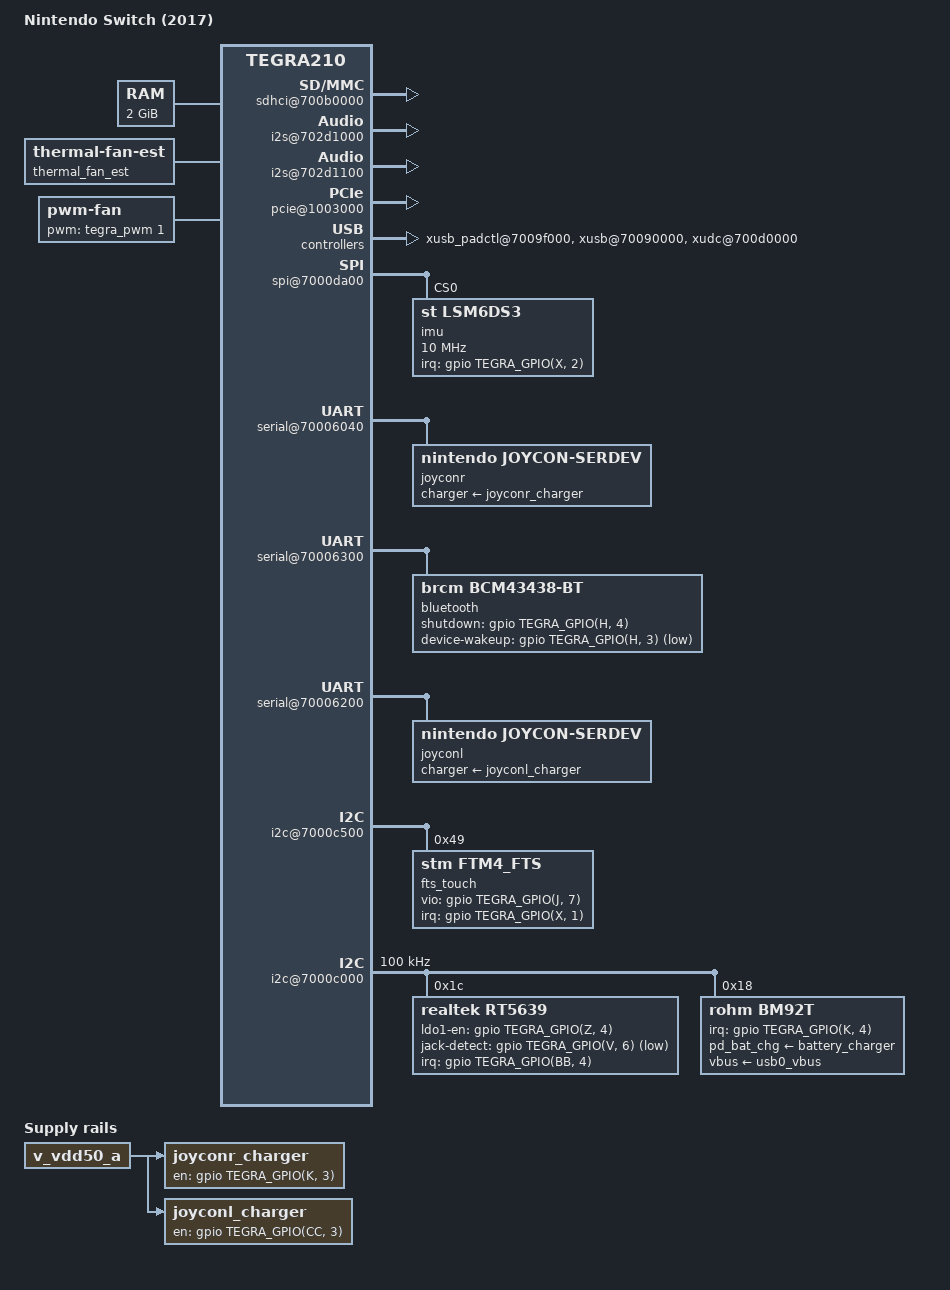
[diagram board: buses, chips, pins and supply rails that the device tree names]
/*
 * arch/arm64/boot/dts/tegra210-icosa-common.dtsi
 *
 * Copyright (c) 2014-2019, NVIDIA CORPORATION.  All rights reserved.
 *
 * This program is free software; you can redistribute it and/or modify
 * it under the terms of the GNU General Public License as published by
 * the Free Software Foundation; version 2 of the License.
 *
 * This program is distributed in the hope that it will be useful, but WITHOUT
 * ANY WARRANTY; without even the implied warranty of MERCHANTABILITY or
 * FITNESS FOR A PARTICULAR PURPOSE.  See the GNU General Public License for
 * more details.
 *
 */

/dts-v1/;

/memreserve/ 0x80000000 0x00020000;

#include <t210-common-platforms/tegra210-common.dtsi>
#include <t210-common-platforms/tegra210-cpufreq.dtsi>
#include "icosa-platforms/tegra210-icosa-gpio.dtsi"
#include "icosa-platforms/tegra210-icosa-pinmux.dtsi"
#include "icosa-platforms/tegra210-icosa-prods.dtsi"
#include "icosa-platforms/tegra210-icosa-comms.dtsi"
#include <tegra210-soc/tegra210-sdhci.dtsi>
#include "icosa-platforms/tegra210-icosa-keys.dtsi"
#include <tegra210-soc/tegra210-audio.dtsi>
#include <t210-common-platforms/tegra210-thermal-nct72-p2530.dtsi>
#include <tegra210-soc/tegra210-thermal-Tboard-Tdiode.dtsi>
#include <dt-bindings/clock/tegra210-car.h>
#include <dt-bindings/reset/tegra210-car.h>
#include <dt-bindings/soc/tegra-pmc.h>
#include <dt-bindings/thermal/tegra124-soctherm.h>
#include <dt-bindings/thermal/tegra210-trips.h>

/ {
	model = "Nintendo Switch (2017)";
	compatible = "nintendo,icosa", "nvidia,tegra210";
	nvidia,dtsfilename = __FILE__;

	nvidia,boardids = "2595:0000:A0";
	nvidia,proc-boardid = "2595:0000:A0";
	nvidia,pmu-boardid = "2595:0000:A0";
	#address-cells = <2>;
	#size-cells = <2>;

	serial-number = "1234";

	chosen {
		nvidia,bluetooth-mac = "11:22:33:44:55:66"; // both overwritten by U-Boot
		nvidia,wifi-mac = "11:22:33:44:55:66";
	};

	firmware {
		android {
			compatible = "android,firmware";
			hardware = "icosa";
			fstab {
				compatible = "android,fstab";
				first_stage_delay = "1";
				vendor {
					compatible = "android,vendor";
					dev = "/dev/block/platform/sdhci-tegra.0/by-name/vendor";
					type = "ext4";
					mnt_flags = "ro,noatime";
					fsmgr_flags = "wait";
				};
			};
		};
	};

	dvfs {
		compatible = "nvidia,tegra210-dvfs";
	};

	rtc {
		nvidia,pmc-wakeup = <0>; // Disable wakeup alarms
	};

	tegra_fiq_debugger {
		status = "disabled";
	};

	pmc@7000e400 {
		nvidia,invert-interrupt;
		nvidia,suspend-mode = <0>;
		nvidia,cpu-pwr-good-time = <0>;
		nvidia,cpu-pwr-off-time = <0>;
		nvidia,core-pwr-good-time = <4587 3876>;
		nvidia,core-pwr-off-time = <39065>;
		nvidia,core-pwr-req-active-high;
		nvidia,sys-clock-req-active-high;
		#nvidia,wake-cells = <3>;
		iopad-defaults {
			audio-hv-pads {
				pins = "audio-hv";
				nvidia,power-source-voltage = <TEGRA_IO_PAD_VOLTAGE_1800000UV>;
			};

			spi-hv-pads {
				pins = "spi-hv";
				nvidia,power-source-voltage = <TEGRA_IO_PAD_VOLTAGE_1800000UV>;
			};

			gpio-pads {
				pins = "gpio";
				nvidia,power-source-voltage = <TEGRA_IO_PAD_VOLTAGE_1800000UV>;
			};

			sdmmc1-pads {
				pins = "sdmmc1";
				nvidia,enable-voltage-switching;
			};

			sdmmc3-pads {
				pins = "sdmmc3";
				nvidia,power-source-voltage = <TEGRA_IO_PAD_VOLTAGE_1800000UV>;
				nvidia,enable-voltage-switching;
				low-power-enable;
			};
		};
	};

	memory@80000000 {
		device_type = "memory";
		reg = < 0x0 0x80000000 0x0 0x80000000 >;
	};

	sdhci@700b0600 { /* SDMMC4 for EMMC */
		bus-width = <8>;
		uhs-mask = <0x0>;       /* hs400 */
		tap-delay = <0>;
		max-clk-limit = <200000000>;
		pll_source = "pll_p", "pll_c4_out2";
		clocks = <&tegra_car TEGRA210_CLK_SDMMC4>,
			   <&tegra_car TEGRA210_CLK_PLL_P>,
			   <&tegra_car TEGRA210_CLK_PLL_C4_OUT2>,
			   <&tegra_car TEGRA210_CLK_SDMMC_LEGACY>;
		clock-names = "sdmmc", "pll_p", "pll_c4_out2", "sdmmc_legacy_tm";
		status = "disabled";
	};


	sdhci@700b0400 { /* SDMMC3 Not Used */
		status = "disabled";
	};

	sdhci@700b0200 { /* SDMMC2 for Gamecard */
		uhs-mask = <0x0>;	/* hs400 */
		tap-delay = <0>;
		trim-delay = <8>;
		nvidia,is-ddr-tap-delay;
		nvidia,ddr-tap-delay = <0>;
		mmc-ocr-mask = <0>;
		dqs-trim-delay = <17>;
		dqs-trim-delay-hs533 = <24>;
		max-clk-limit = <200000000>;
		bus-width = <8>;
		built-in;
		calib-3v3-offsets = <0x0505>;
		calib-1v8-offsets = <0x0505>;
		compad-vref-3v3 = <0x7>;
		compad-vref-1v8 = <0x7>;
		nvidia,en-io-trim-volt;
		nvidia,is-emmc;
		nvidia,enable-cq;
		ignore-pm-notify;
		keep-power-in-suspend;
		non-removable;
		cap-mmc-highspeed;
		cap-sd-highspeed;
		mmc-ddr-1_8v;
		mmc-hs200-1_8v;
		mmc-hs400-1_8v;
		nvidia,enable-strobe-mode;
		pll_source = "pll_p", "pll_c4_out2";
		clocks = <&tegra_car TEGRA210_CLK_SDMMC2>,
			   <&tegra_car TEGRA210_CLK_PLL_P>,
			   <&tegra_car TEGRA210_CLK_PLL_C4_OUT2>;
		clock-names = "sdmmc", "pll_p", "pll_c4_out2";
		status = "disabled";
	};

	sdhci@700b0000 { /* SDMMC1 for uSD card */
		uhs-mask = <0x0c>;
		power-off-rail;
		default-drv-type = <0x01>;
		nvidia,update-pinctrl-settings;
		nvidia,sd-device;
		no-sdio;
		no-mmc;
		max-clk-limit = <200000000>;
		pll_source = "pll_p", "pll_c4_out2";
		clocks = <&tegra_car TEGRA210_CLK_SDMMC1>,
			   <&tegra_car TEGRA210_CLK_PLL_P>,
			   <&tegra_car TEGRA210_CLK_PLL_C4_OUT2>,
			   <&tegra_car TEGRA210_CLK_SDMMC_LEGACY>;
		clock-names = "sdmmc", "pll_p", "pll_c4_out2", "sdmmc_legacy_tm";
		nvidia,cd-wakeup-capable;
		status = "okay";
	};

	aconnect@702c0000 {
		status = "okay";

		adma@702e2000  {
			status = "okay";
		};

		ahub {
			i2s@702d1000 {
				pinctrl-names = "dap_active", "dap_inactive";
				pinctrl-0 = <>;
				pinctrl-1 = <>;
				regulator-supplies = "vdd-1v8-audio-hv", "vdd-1v8-audio-hv-bias";
				vdd-1v8-audio-hv-supply = <&max77620_sd3>;
				vdd-1v8-audio-hv-bias-supply = <&max77620_sd3>;
				status = "okay";
			};
	
			i2s@702d1100 {
				pinctrl-names = "dap_active", "dap_inactive";
				pinctrl-0 = <>;
				pinctrl-1 = <>;
				regulator-supplies = "vdd-1v8-spi-hv", "vdd-1v8-spi-hv-bias";
				vdd-1v8-spi-hv-supply = <&max77620_sd3>;
				vdd-1v8-spi-hv-bias-supply = <&max77620_sd3>;
				fsync-width = <0>;
				status = "okay";
			};
			i2s@702d1100 {
				pinctrl-names = "dap_active", "dap_inactive";
				pinctrl-0 = <>;
				pinctrl-1 = <>;
				regulator-supplies = "vdd-1v8-spi-hv", "vdd-1v8-spi-hv-bias";
				vdd-1v8-spi-hv-supply = <&max77620_sd3>;
				vdd-1v8-spi-hv-bias-supply = <&max77620_sd3>;
				fsync-width = <0>;
			};
		};
		adsp_audio {
			status = "okay";
			compr-ops = <1>;
			num-plugin = <5>;
			plugin-info-1 {
				plugin-name = "mp3-dec1";
				firmware-name = "nvmp3dec.elf";
				widget-name = "MP3-DEC1";
			};
			plugin-info-2 {
				plugin-name = "spkprot";
				firmware-name = "nvspkprot.elf";
				widget-name = "SPKPROT-SW";
			};
			plugin-info-3 {
				plugin-name = "src";
				firmware-name = "nvsrc.elf";
				widget-name = "SRC";
			};
			plugin-info-4 {
				plugin-name = "aac-dec1";
				firmware-name = "nvaacdec.elf";
				widget-name = "AAC-DEC1";
			};
			plugin-info-5 {
				plugin-name = "aec";
				firmware-name = "libnvaecfx.elf";
				widget-name = "AEC";
				param-type = <2>; /* SNDRV_CTL_ELEM_TYPE_INTEGER */
			};
		};

	};

	pcie@1003000 {
		nvidia,wake-gpio = <&gpio TEGRA_GPIO(A, 2) 0>;
		/delete-property/ iommus;
		/delete-property/ iommu-map;
		/delete-property/ iommu-map-mask;

		avdd-pll-uerefe-supply = <&max77620_ldo1>;
		dvdd-pex-pll-supply = <&max77620_ldo1>;
		dvddio-pex-supply = <&max77620_ldo1>;
		l0-dvddio-pex-supply = <&max77620_ldo1>;
		l1-dvddio-pex-supply = <&max77620_ldo1>;
		l2-dvddio-pex-supply = <&max77620_ldo1>;
		l3-dvddio-pex-supply = <&max77620_ldo1>;
		l4-dvddio-pex-supply = <&max77620_ldo1>;
		l5-dvddio-pex-supply = <&max77620_ldo1>;
		l6-dvddio-pex-supply = <&max77620_ldo1>;
		hvddio-pex-supply = <&max77620_sd3>;
		hvdd-pex-pll-e-supply = <&max77620_sd3>;
		l0-hvddio-pex-supply = <&max77620_sd3>;
		l1-hvddio-pex-supply = <&max77620_sd3>;
		l2-hvddio-pex-supply = <&max77620_sd3>;
		l3-hvddio-pex-supply = <&max77620_sd3>;
		l4-hvddio-pex-supply = <&max77620_sd3>;
		l5-hvddio-pex-supply = <&max77620_sd3>;
		l6-hvddio-pex-supply = <&max77620_sd3>;
		vddio-pex-ctl-supply = <&max77620_sd3>;
		status = "okay";

		nvidia,check-lane-timeout = <20>;

		pci@1,0 {
			phys =  <&{/xusb_padctl@7009f000/pads/pcie/lanes/pcie-1}>,
					<&{/xusb_padctl@7009f000/pads/pcie/lanes/pcie-2}>,
					<&{/xusb_padctl@7009f000/pads/pcie/lanes/pcie-3}>,
					<&{/xusb_padctl@7009f000/pads/pcie/lanes/pcie-4}>;
			phy-names = "pcie-0", "pcie-1", "pcie-2", "pcie-3";
			nvidia,num-lanes = <4>;
			status = "okay";
		};

		pci@2,0 {
			phys = <&{/xusb_padctl@7009f000/pads/pcie/lanes/pcie-0}>;
			nvidia,plat-gpios = <&gpio TEGRA_GPIO(H, 1) 0>; /* WiFi reset */
			phy-names = "pcie-0";
			status = "okay";
		};
	};

	xusb_padctl@7009f000 {
		status = "okay";

		pads {
			usb2 {
				status = "okay";

				lanes {
					usb2-0 {
						nvidia,function = "xusb";
						status = "okay";
					};
				};
			};

			pcie {
				status = "okay";

				lanes {
					/* bcm4356A3-wifi */
					pcie-0 {
						nvidia,function = "pcie-x1";
						status = "okay";
					};
					/* Unused ports */
					pcie-1 {
						nvidia,function = "pcie-x4";
						status = "okay";
					};
					pcie-2 {
						nvidia,function = "pcie-x4";
						status = "okay";
					};
					pcie-3 {
						nvidia,function = "pcie-x4";
						status = "okay";
					};
					pcie-4 {
						nvidia,function = "pcie-x4";
						status = "okay";
					};
					/* XUSB */
					pcie-5 {
						nvidia,function = "xusb";
						status = "okay";
					};
					pcie-6 {
						nvidia,function = "xusb";
						status = "okay";
					};
				};
			};
		};

		ports {
			usb2-0 {
				status = "okay";
				mode = "otg";
				nvidia,usb3-port-fake = <3>;
			};

			usb3-0 {
				nvidia,usb2-companion = <0>;
				status = "okay";
			};
		};
	};

	spi@7000da00 {
		status = "okay";
		imu: lsm6dsm@0 {
			compatible = "st,lsm6ds3";
			reg = <0>;
			spi-max-frequency = <10000000>;
			interrupt-parent = <&gpio>;
			interrupts = <TEGRA_GPIO(X, 2) IRQ_TYPE_LEVEL_HIGH>;
			st,drdy-int-pin = <2>;
			status = "okay";
			#address-cells = <0x1>;
			#size-cells = <0x0>;
			nvidia,enable-hw-based-cs;
			nvidia,cs-setup-clk-count = <0x1e>;
			nvidia,cs-hold-clk-count = <0x1e>;
			nvidia,rx-clk-tap-delay = <0x1f>;
			nvidia,tx-clk-tap-delay = <0x0>;
		};
		/delete-node/ spi-touch19x12@0;
		/delete-node/ spi-touch25x16@0;
		/delete-node/ spi-touch14x8@0;
	};

	cpufreq {
		cpu-scaling-data {
			freq-table = <102000
						  204000
						  306000
						  408000
						  510000
						  612000
						  714000
						  816000
						  918000
						  1020000
						  1122000
						  1224000
						  1326000
						  1428000
						  1581000
						  1683000
						  1785000
						  1887000
						  1989000
						  2091000>;
		};

		emc-scaling-data {
			emc-cpu-limit-table = <
				/* CPU    EMC */
				102000	68000
				204800	102000
				307200	204000
				403000	408000
				710400	665600
				1036800 1600000
			>;
		};
	};

	joyconr_charger: joyconr_charger {
		status = "okay";
		compatible = "regulator-fixed";
		regulator-name = "right-joycon-charger";
		gpio = <&gpio TEGRA_GPIO(K, 3) GPIO_ACTIVE_HIGH>;
		enable-active-high;
		vin-supply = <&v_vdd50_a>;
	};

	/* right joycon */
	serial@70006040 {
		status = "okay";
		nvidia,invert-txd;
		nvidia,invert-rts;

		joyconr {
			status = "okay";
			name = "joyconr";
			compatible = "nintendo,joycon-serdev";
			charger-supply = <&joyconr_charger>;
		};
	};

	
	serial@70006300 {
		dma-names = "tx";
		status = "okay";
		
		bluetooth {
			compatible = "brcm,bcm43438-bt";
			shutdown-gpios = <&gpio TEGRA_GPIO(H, 4) GPIO_ACTIVE_HIGH>;
			device-wakeup-gpios = <&gpio TEGRA_GPIO(H, 3) GPIO_ACTIVE_LOW>;
			/* host-wakeup-gpios = <&gpio TEGRA_GPIO(H, 5) GPIO_ACTIVE_LOW>; */
			max-speed = <3000000>; /* Max supported 4 MBaud */
			/* nvidia,pmc-wakeup = <&tegra_pmc PMC_WAKE_TYPE_EVENT 52 PMC_TRIGGER_TYPE_LOW>; */
		};
	};

	joyconl_charger: joyconl_charger {
		status = "okay";
		compatible = "regulator-fixed";
		regulator-name = "left-joycon-charger";
		gpio = <&gpio TEGRA_GPIO(CC, 3) GPIO_ACTIVE_HIGH>;
		enable-active-high;
		vin-supply = <&v_vdd50_a>;
	};

	/* left joycon */
	serial@70006200 {
		status = "okay";
		nvidia,invert-txd;
		nvidia,invert-rts;

		joyconl {
			status = "okay";
			name = "joyconl";
			compatible = "nintendo,joycon-serdev";
			charger-supply = <&joyconl_charger>;
		};
	};

	mailbox@70098000 {
		status = "okay";
	};

	extcon {
		extcon@0 {
			status = "disabled";
		};
	};
	
	/delete-node/ psy_extcon_xudc;
	/delete-node/ usb_cd@7009f000;

	psy_extcon {
		compatible = "power-supply-extcon";
		extcon-cables = <&bq2419x 0>;
		extcon-cable-names = "usb-charger";
	};

	xusb@70090000 {
		status = "okay";
		#extcon-cells = <1>;
		phys = <&{/xusb_padctl@7009f000/pads/usb2/lanes/usb2-0}>,
			   <&{/xusb_padctl@7009f000/pads/pcie/lanes/pcie-6}>;
		phy-names = "usb2-0", "usb3-0";
		extcon-cables = <&bm92t 0>;
		extcon-cable-names = "id";
		nvidia,boost_cpu_freq = <1200>;
	};

	xudc@700d0000 {
		#extcon-cells = <1>;
		status = "okay";
		phys =  <&{/xusb_padctl@7009f000/pads/usb2/lanes/usb2-0}>,
				<&{/xusb_padctl@7009f000/pads/pcie/lanes/pcie-6}>;
		phy-names = "usb2", "usb3";
		extcon-cables = <&bm92t 1>;
		extcon-cable-names = "vbus";
	};

	xotg {
		#extcon-cells = <1>;
		status = "disabled";
	};

	gpu-dvfs-rework {
		status = "okay";
	};

	thermal_fan_est_shared_data: tfesd {
		secret = <37>;
		toffset = <0>;
		polling_period = <1100>;
		ndevs = <2>;
		cdev_type = "pwm-fan";
		tzp_governor_name = "continuous_therm_gov";

		dev1 {
			dev_data = "Tdiode_tegra";
			group = <0>;
			/* Based on Console profile SoC: 95% (100% at Handheld) */
			coeffs = <95 0 0 0 0 0 0 0 0 0 0 0 0 0 0 0 0 0 0 0>;
		};
		dev2 {
			dev_data = "Tboard_tegra";
			group = <1>;
			/* Based on Console profile SoC: 100% (92% at Handheld) */
			coeffs = <100 0 0 0 0 0 0 0 0 0 0 0 0 0 0 0 0 0 0 0>;
		};
	};

	thermal_fan_est {
		compatible = "thermal-fan-est";
		name = "thermal_fan_est";
		status = "okay";

		num_resources = <0>;
		shared_data = <&thermal_fan_est_shared_data>;
		trip_length = <10>;

		thermal-zone-params {
			governor-name = "continuous_therm_gov";
			iir_power = <7>;
			iir_min = <10>;
			iir_max = <1000>;
			iir_gain_qp = <1000>;
			iir_upper_width = <5000>;
			iir_lower_width = <15000>;
		};

		/*
		 * HOS Thermal Trips
		 * Estimated shell:
		 * Tskin        36000 40000 43000 48000 53000 58000
		 *
		 * Console profile actual:
		 * Tdiode       36000 45701 50554 58642 66730 74818
		 * Tboard       36000 43084 47774 55592 63409 71227
		 * Ratio b/d:   1.00  0.94  0.95  0.95  0.95  0.95 : 0.95
		 * Ratio s/d:   1.00  0.88  0.85  0.82  0.79  0.78
		 * Ratio s/b:   1.00  0.93  0.90  0.86  0.84  0.81
		 *
		 * Handheld profile actual:
		 * Tdiode       36000 40412 45904 55054 64204 73356
		 * Tboard       36000 45630 50786 59382 67978 76573
		 * Ratio d/b:   1.00  0.89  0.90  0.93  0.94  0.96 : 0.92
		 * Ratio s/d:   1.00  0.99  0.94  0.87  0.83  0.79
		 * Ratio s/b:   1.00  0.88  0.85  0.81  0.78  0.76
		 */

		profiles {
			default = "docked";
			docked {
				name = "docked";
				active_trip_temps = <
					0 36000 43100 47800 55600 63400 71200
					80000 90000 100000>; /* Unused */
				active_hysteresis = <0 0 7000 4600 0 0 0 0 0 0>;
			};
			handheld {
				name = "handheld";
				active_trip_temps = <
					0 36000 40400 45900 55100 64200 73400
					80000 90000 100000>; /* Unused */
				active_hysteresis = <0 0 4300 5400 0 0 9100 0 0 0>;
			};
		};
	};

	pwm_fan_shared_data: pfsd {
		secret = <47>;
		num_resources = <0>;
		active_steps = <10>;
		active_rpm = <0 0 2600 2600 4900 6900 10000 10000 10000 10000>;
		active_rru = <10 10 10 1 1 1 1 1 1 1>;
		active_rrd = <10 10 10 1 1 1 1 1 1 1>;
		state_cap_lookup = <1 1 2 6 6 6 6 6 6 6>;

		pwm_period = <33333>;
		pwm_id = <1>;
		pwm_polarity = <1>;
		step_time = <100>;
		state_cap = <6>;
		active_pwm_max = <256>;
		tach_gpio =  <&gpio TEGRA_GPIO(S, 7) GPIO_ACTIVE_LOW>; /* TEGRA_GPIO_PS7 */
		pwm_gpio = <&gpio TEGRA_GPIO(V, 4) GPIO_ACTIVE_LOW>; /* TEGRA_GPIO_PV4 */
		tach_period = <1000>;
	};

	pwm-fan {
		compatible = "pwm-fan";
		name = "pwm-fan";
		status = "okay";
		pwms = <&tegra_pwm 1 33333>;
		shared_data = <&pwm_fan_shared_data>;
		continuous_gov_boot_on;

		profiles {
			status = "okay";
			default = "docked";

			docked {
				status = "okay";
				name = "docked";
				state_cap = <6>;
				active_pwm = <0 0 51 51 102 153 255 255 255 255>;
			};
			handheld {
				status = "okay";
				name = "handheld";
				state_cap = <6>;
				active_pwm = <0 0 51 51 102 153 204 204 204 204>;
			};
		};
	};

	ptm {
		status = "disabled";
	};

	i2c@7000c500 {
		fts_touch: fts@49 {
			compatible = "stm,ftm4_fts";
			status = "okay";
			reg = <0x49>;
			interrupt-parent = <&gpio>;
			interrupts = <TEGRA_GPIO(X, 1) IRQ_TYPE_LEVEL_LOW>;
			stm,vio-gpio = <&gpio TEGRA_GPIO(J, 7) GPIO_ACTIVE_HIGH>;
			stm,irq_type = <0x2000>; /* IRQF_ONESHOT */
			stm,regulator_avdd = "vdd-tp-3v1";
			stm,max_coords = <1280 720>;
			stm,max-real-coords = <1264 704>;
			stm,edge-offset = <15 15>;
			stm,delayed-open;
			stm,delayed-open-time = <10>;
		};
	};

	i2c@7000c000 {
		clock-frequency = <100000>;

		rt5639: rt5639@1c {
			compatible = "realtek,rt5639";
			reg = <0x1c>;
			interrupt-parent = <&gpio>;
			interrupts = <TEGRA_GPIO(BB, 4) IRQ_TYPE_EDGE_RISING>;
			realtek,ldo1-en-gpios = <&gpio TEGRA_GPIO(Z, 4) GPIO_ACTIVE_HIGH>;
			realtek,jack-detect-gpios = <&gpio TEGRA_GPIO(V, 6) GPIO_ACTIVE_LOW>;
			realtek,over-current-threshold-microamp = <600>;
			realtek,over-current-scale-factor = <2>;
			realtek,external-microphone;
			realtek,sel-jd-source = <4>;
			realtek,jack-detect-is-jd1;
		};

		bm92t: bm92t@18 {
			compatible = "rohm,bm92t";
			reg = <0x18>;
			interrupt-parent = <&gpio>;
			interrupts = <TEGRA_GPIO(K, 4) IRQ_TYPE_EDGE_RISING>;
			#extcon-cells = <1>;
			pd_bat_chg-supply = <&battery_charger>;
			vbus-supply = <&usb0_vbus>;

			nvidia,pmc-wakeup = <&tegra_pmc
				PMC_WAKE_TYPE_EVENT 14 PMC_TRIGGER_TYPE_LOW>;

			rohm,dp-signal-toggle-on-resume;
			rohm,pd-5v-current-limit-ma = <2000>;
			rohm,pd-9v-current-limit-ma = <2000>;
			rohm,pd-12v-current-limit-ma = <1500>;
			rohm,pd-15v-current-limit-ma = <1200>;
		};
	};

	tegra_sound: sound {
		compatible = "nvidia,tegra-audio-t210ref-mobile-rt5640";
		nvidia,model = "tegra-snd-t210ref-mobile-rt565x";

		clocks = <&tegra_car TEGRA210_CLK_PLL_P_OUT1>,
						<&tegra_car TEGRA210_CLK_PLL_A>,
						<&tegra_car TEGRA210_CLK_PLL_A_OUT0>,
						<&tegra_car TEGRA210_CLK_D_AUDIO>,
						<&tegra_car TEGRA210_CLK_CLK_M>,
						<&tegra_car TEGRA210_CLK_EXTERN1>;
		clock-names = "pll_p_out1", "pll_a", "pll_a_out0", "ahub",
			"clk_m", "extern1";


		assigned-clocks = <&tegra_car TEGRA210_CLK_PLL_A>,
			<&tegra_car TEGRA210_CLK_PLL_A_OUT0>,
			<&tegra_car TEGRA210_CLK_D_AUDIO>,
			<&tegra_car TEGRA210_CLK_EXTERN1>;
		assigned-clock-rates = <368640000>, <36864000>,
			<36864000>, <12288000>;

		nvidia,num-codec-link = <1>;

		nvidia,audio-routing =
			"x Headphone Jack", 	"x HPOL",
			"x Headphone Jack", 	"x HPOR",
			"x Int Spk", 	"x SPORP",
			"x Int Spk", 	"x SPORN",
			"x Int Spk", 	"x SPOLP",
			"x Int Spk", 	"x SPOLN",
			"x IN1P",		"x Mic Jack",
			"x IN1P",		"x Mic Jack";

		nvidia,xbar = <&tegra_axbar>;

		mclk-fs = <256>;

		nvidia,dai-link-1 {
			link-name = "rt565x-playback";
			cpu-dai = <&tegra_i2s1>;
			codec-dai = <&rt5639>;
			cpu-dai-name = "I2S1";
			codec-dai-name = "rt5640-aif1";
			format = "i2s";
			bitclock-slave;
			frame-slave;
			bitclock-noninversion;
			frame-noninversion;
			bit-format = "s16_le";
			srate = <48000>;
			num-channel = <2>;
			name-prefix = "x";
		};
	};

	modem {
		status = "disabled";
		/* using XHCI UTMI */
		nvidia,phy-type = <2>;
	};

	wifi-antenna-tuning {
		status = "disabled";
	};


	soctherm@0x700E2000 {
		throttle-cfgs {
			throttle_oc3: oc3 {
				nvidia,priority = <40>;
				nvidia,polarity-active-low = <1>;
				nvidia,count-threshold = <15>;
				nvidia,alarm-filter = <5100000>;
				nvidia,alarm-period = <0>;
				nvidia,cpu-throt-percent = <75>;
				nvidia,gpu-throt-level =
					<TEGRA_SOCTHERM_THROT_LEVEL_MED>;
			};
		};
	};
	thermal-zones {
		CPU-therm {
			status = "okay";
			thermal-zone-params {
				governor-name = "pid_thermal_gov";
				max_err_temp = <9000>;
				max_err_gain = <1000>;
				gain_p = <1000>;
				gain_d = <0>;
				up_compensation = <20>;
				down_compensation = <20>;
			};
			trips {
				cpu_critical {
					temperature = <102500>;
					hysteresis = <0>;
					type = "critical";
					writable;
				};
				cpu_heavy {
					temperature = <98500>;
					hysteresis = <0>;
					type = "hot";
					writable;
				};
				cpu_throttle {
					temperature = <89000>;
					hysteresis = <0>;
					type = "passive";
					writable;
				};
				core_dvfs_floor_trip0: core_dvfs_floor_trip0 {
					temperature = <15000>;
					hysteresis = <1000>;
					type = "active";
				};

				core_dvfs_cap_trip0: core_dvfs_cap_trip0 {
					temperature = <86000>;
					hysteresis = <1000>;
					type = "active";
				};

			};
			cooling-maps {
				map0 {
					trip = <&{/thermal-zones/CPU-therm/trips/cpu_critical}>;
					cdev-type = "tegra-shutdown";
					cooling-device = <&{/soctherm@0x700E2000/throttle@critical}
						THERMAL_NO_LIMIT THERMAL_NO_LIMIT>;
				};
				map1 {
					trip = <&{/thermal-zones/CPU-therm/trips/cpu_heavy}>;
					cdev-type = "tegra-heavy";
					cooling-device = <&throttle_heavy 1 1>;
				};
				map2 {
					trip = <&{/thermal-zones/CPU-therm/trips/cpu_throttle}>;
					cdev-type = "cpu-balanced";
					cooling-device = <&{/bthrot_cdev/cpu_balanced}
						THERMAL_NO_LIMIT THERMAL_NO_LIMIT>;
				};
				core_dvfs_floor_map0 {
					trip = <&core_dvfs_floor_trip0>;
					cooling-device = <&core_dvfs_floor 1 1>;
				};
				core_dvfs_cap_map0 {
					trip = <&core_dvfs_cap_trip0>;
					cooling-device = <&core_dvfs_cap 1 1>;
				};
			};
		};
		GPU-therm {
			status = "okay";
			thermal-zone-params {
				governor-name = "pid_thermal_gov";
				max_err_temp = <9000>;
				max_err_gain = <1000>;
				gain_p = <1000>;
				gain_d = <0>;
				up_compensation = <20>;
				down_compensation = <20>;
			};
			trips {
				gpu_critical {
					temperature = <103000>;
					hysteresis = <0>;
					type = "critical";
					writable;
				};
				gpu_heavy {
					temperature = <100000>;
					hysteresis = <0>;
					type = "hot";
					writable;
				};
				gpu_throttle {
					temperature = <90500>;
					hysteresis = <0>;
					type = "passive";
					writable;
				};
			};
			cooling-maps {
				map0 {
					trip = <&{/thermal-zones/GPU-therm/trips/gpu_critical}>;
					cdev-type = "tegra-shutdown";
					cooling-device = <&{/soctherm@0x700E2000/throttle@critical}
						THERMAL_NO_LIMIT THERMAL_NO_LIMIT>;
				};
				map1 {
					trip = <&{/thermal-zones/GPU-therm/trips/gpu_heavy}>;
					cdev-type = "tegra-heavy";
					cooling-device = <&throttle_heavy 1 1>;
				};
				map2 {
					trip = <&{/thermal-zones/GPU-therm/trips/gpu_throttle}>;
					cdev-type = "gpu-balanced";
					cooling-device = <&{/bthrot_cdev/gpu_balanced}
						THERMAL_NO_LIMIT THERMAL_NO_LIMIT>;
				};
			};
		};
		LCPU-therm {
			status = "disabled";
		};
		PLL-therm {
			status = "okay";
			thermal-zone-params {
				governor-name = "pid_thermal_gov";
				max_err_temp = <9000>;
				max_err_gain = <1000>;
				gain_p = <1000>;
				gain_d = <0>;
				up_compensation = <20>;
				down_compensation = <20>;
			};
		};
		Tboard_tegra {
			status = "okay";
			polling-delay = <0>;
			polling-delay-passive = <5500>;

			trips {
				board_emergency {
					temperature = <85000>;
					hysteresis = <2000>;
					type = "passive";
					writable;
				};
			};
			cooling-maps {
				map0 {
					trip = <&{/thermal-zones/Tboard_tegra/trips/board_emergency}>;
					cdev-type = "emergency-balanced";
					cooling-device = <&{/bthrot_cdev/emergency_balanced}
						THERMAL_NO_LIMIT THERMAL_NO_LIMIT>;
				};
			};
		};
		Tdiode_tegra {
			status = "okay";
			polling-delay = <0>;
			polling-delay-passive = <1100>;

			trips {
				soc_critical {
					temperature = <96000>;
					hysteresis = <0>;
					type = "critical";
					writable;
				};
				soc_emergency {
					temperature = <85000>;
					hysteresis = <2000>;
					type = "passive";
					writable;
				};
			};
			cooling-maps {
				map0 {
					trip = <&{/thermal-zones/Tdiode_tegra/trips/soc_critical}>;
					cdev-type = "tegra-shutdown";
					cooling-device = <&{/soctherm@0x700E2000/throttle@critical}
						THERMAL_NO_LIMIT THERMAL_NO_LIMIT>;
				};
				map1 {
					trip = <&{/thermal-zones/Tdiode_tegra/trips/soc_emergency}>;
					cdev-type = "emergency-balanced";
					cooling-device = <&{/bthrot_cdev/emergency_balanced}
						THERMAL_NO_LIMIT THERMAL_NO_LIMIT>;
				};
			};
		};
		AO-therm {
			status = "okay";
		};
		PMIC-Die-max77621-0 {
			status = "okay";
			polling-delay = <0>; /* milliseconds */
			polling-delay-passive = <0>; /* milliseconds */
			thermal-sensors = <&cpu_max77621_reg>;

			trips {
				die_temp_thresh_max77621_0: hot-die {
					temperature = <120000>;
					type = "active";
					hysteresis = <0>;
				};
			};

			cooling-maps {
				map0 {
					trip = <&die_temp_thresh_max77621_0>;
					cooling-device = <&{/bthrot_cdev/emergency_balanced}
							THERMAL_NO_LIMIT THERMAL_NO_LIMIT>;
					contribution = <100>;
					cdev-type = "emergency-balanced";
				};
			};
		};

		PMIC-Die-max77621-1 {
			status = "okay";
			polling-delay = <0>; /* milliseconds */
			polling-delay-passive = <0>; /* milliseconds */
			thermal-sensors = <&gpu_max77621_reg>;

			trips {
				die_temp_thresh_max77621_1: hot-die {
					temperature = <120000>;
					type = "active";
					hysteresis = <0>;
				};
			};

			cooling-maps {
				map0 {
					trip = <&die_temp_thresh_max77621_1>;
					cooling-device = <&{/bthrot_cdev/emergency_balanced}
							THERMAL_NO_LIMIT THERMAL_NO_LIMIT>;
					contribution = <100>;
					cdev-type = "emergency-balanced";
				};
			};
		};
	};

	dummy_cool_dev: dummy-cool-dev {
		status = "disabled";
	};

	clock@70110000 {
		status = "okay";
		vdd-cpu-supply = <&cpu_max77621_reg>;
		nvidia,align-step-uv = <6250>;
		nvidia,sample-rate = <25000>;
		nvidia,droop-ctrl = <0x00000f00>;
		nvidia,force-mode = <1>;
		nvidia,cf = <6>;
		nvidia,ci = <0>;
		nvidia,cg = <2>;
		nvidia,i2c-fs-rate = <400000>;
	};

	cpus {
		cpu@0 {
			clocks = <&tegra_car TEGRA210_CLK_CCLK_G>,
				 <&tegra_car TEGRA210_CLK_CCLK_LP>,
				 <&tegra_car TEGRA210_CLK_PLL_X>,
				 <&tegra_car TEGRA210_CLK_PLL_P_OUT4>,
				 <&tegra_clk_dfll>;
			clock-names = "cpu_g", "cpu_lp", "pll_x", "pll_p", "dfll";
			clock-latency = <300000>;
		};
	};

	memory-controller@70019000 {
		status = "okay";
	};

	reserved-memory {
		iram-carveout {
			status = "disabled";
		};
	};

	nvpmodel {
		status = "okay";
	};

	nvdumper {
		status = "disabled";
	};

	dfll_cap: dfll-cdev-cap {
		compatible = "nvidia,tegra-dfll-cdev-action";
		act-dev = <&tegra_clk_dfll>;
		cdev-type = "DFLL-cap";
		#cooling-cells = <2>; /* min followed by max */
	};

	dfll_floor: dfll-cdev-floor {
		compatible = "nvidia,tegra-dfll-cdev-action";
		act-dev = <&tegra_clk_dfll>;
		cdev-type = "DFLL-floor";
		#cooling-cells = <2>; /* min followed by max */
	};

	thermal-zones {
		CPU-therm {
			trips {
				dfll_floor_trip0: dfll-floor-trip0 {
					temperature = <TEGRA210_DFLL_THERMAL_FLOOR_0>; /* millicelsius */
					hysteresis = <1000>; /* millicelsius */
					type = "active";
				};
				dfll_floor_trip1: dfll-floor-trip1 {
					temperature = <TEGRA210_DFLL_THERMAL_FLOOR_1>; /* millicelsius */
					hysteresis = <1000>; /* millicelsius */
					type = "active";
				};
				dfll_floor_trip2: dfll-floor-trip2 {
					temperature = <TEGRA210_DFLL_THERMAL_FLOOR_2>; /* millicelsius */
					hysteresis = <1000>; /* millicelsius */
					type = "active";
				};
				dfll_floor_trip3: dfll-floor-trip3 {
					temperature = <TEGRA210_DFLL_THERMAL_FLOOR_3>; /* millicelsius */
					hysteresis = <1000>; /* millicelsius */
					type = "active";
				};
				dfll_cap_trip0: dfll-cap-trip0 {
					temperature = <TEGRA210_DFLL_THERMAL_CAP_0>; /* millicelsius */
					hysteresis = <1000>; /* millicelsius */
					type = "active";
				};
				dfll_cap_trip1: dfll-cap-trip1 {
					temperature = <TEGRA210_DFLL_THERMAL_CAP_1>; /* millicelsius */
					hysteresis = <1000>; /* millicelsius */
					type = "active";
				};
			};

			cooling-maps {
				dfll_map0 {
					trip = <&dfll_floor_trip0>;
					cooling-device = <&dfll_floor 1 1>;
				};
				dfll_map1 {
					trip = <&dfll_floor_trip1>;
					cooling-device = <&dfll_floor 2 2>;
				};
				dfll_map2 {
					trip = <&dfll_floor_trip2>;
					cooling-device = <&dfll_floor 3 3>;
				};
				dfll_map3 {
					trip = <&dfll_floor_trip3>;
					cooling-device = <&dfll_floor 4 4>;
				};
				dfll_map5 {
					trip = <&dfll_cap_trip0>;
					cooling-device = <&dfll_cap 1 1>;
				};
				dfll_map6 {
					trip = <&dfll_cap_trip1>;
					cooling-device = <&dfll_cap 2 2>;
				};
			};
		};
	};
};
